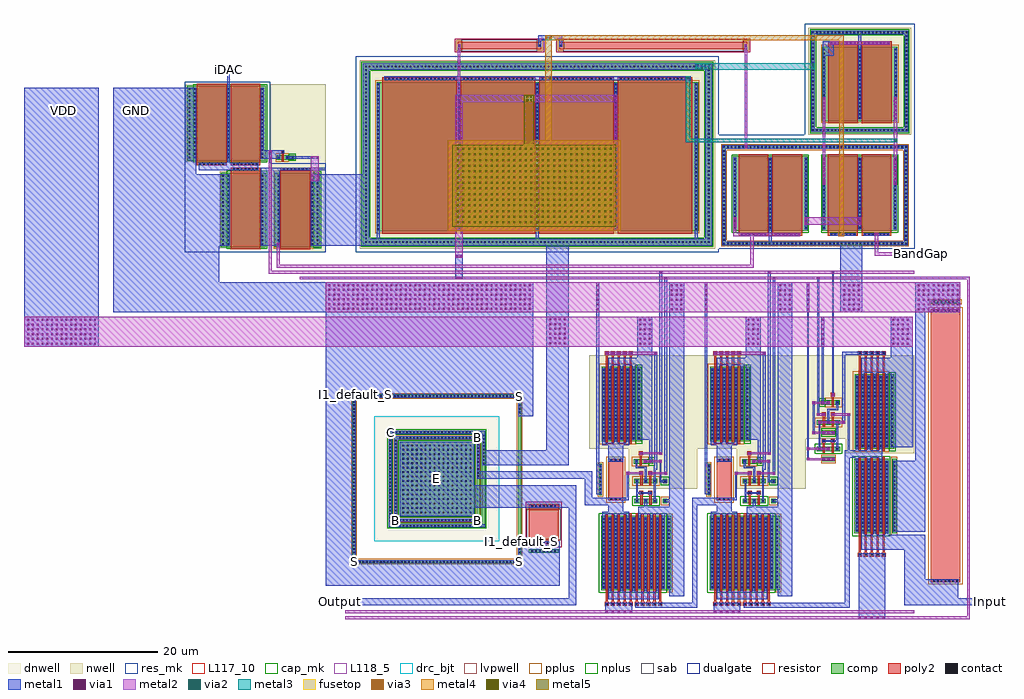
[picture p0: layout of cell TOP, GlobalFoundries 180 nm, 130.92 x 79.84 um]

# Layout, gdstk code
import gdstk
lib = gdstk.Library(unit=1e-6, precision=1e-09)
def R(c, l, rs):  # rectangles x0, y0, x1, y1
    for r in rs: c.add(gdstk.rectangle(r[:2], r[2:], *l))
def A(c, l, x, y, w, h, nx, ny, dx, dy):  # array of equal rectangles
    R(c, l, [(x+i*dx, y+j*dy, x+i*dx+w, y+j*dy+h) for i in range(nx) for j in range(ny)])
def P(c, l, *ps):  # polygons
    for p in ps: c.add(gdstk.Polygon(p, *l))
dnwell = (12, 0)
nwell = (21, 0)
comp = (22, 0)
poly2 = (30, 0)
pplus = (31, 0)
nplus = (32, 0)
contact = (33, 0)
metal1 = (34, 0)
via1 = (35, 0)
metal2 = (36, 0)
via2 = (38, 0)
via3 = (40, 0)
via4 = (41, 0)
metal3 = (42, 0)
metal4 = (46, 0)
sab = (49, 0)
dualgate = (55, 0)
resistor = (62, 0)
fusetop = (75, 0)
metal5 = (81, 0)
res_mk = (110, 5)
cap_mk = (117, 5)
L117_10 = (117, 10)
L118_5 = (118, 5)
drc_bjt = (127, 5)
lvpwell = (204, 0)

top = lib.new_cell('TOP')
R(top, dnwell, [(-34.14,-4.18,-17.34,12.62)])
R(top, nwell, [(-0.02,2.87,9.22,8.23), (14.52,2.87,23.76,8.23), (29.13,7.64,38.3,9.61), (-5.32,8.23,9.22,20.81), (9.22,8.23,23.76,20.81), (23.76,9.61,38.3,20.81), (-48.06,34.64,-40.62,57.16), (-36.11,35.12,11.59,60.4), (-54.89,35.13,-53.91,45.47), (-34.59,36.51,10.07,58.71), (-48.06,46.04,-44.01,49), (-59.41,46.75,-58.43,57.09), (24.11,50.35,37.89,64.75), (25.19,51.3,36.81,63.5)])
R(top, comp, [(-3.69,-10.73,5.71,-0.73), (10.85,-10.73,20.25,-0.73), (-13.41,-5.67,-9.41,-5.25), (30.27,-3.1,34.9,6.9), (35.32,-3.1,35.95,6.94), (-30.74,-0.78,-20.74,9.22), (0.75,0.97,3.85,1.57), (4.58,0.97,5.18,1.57), (15.29,0.97,18.39,1.57), (19.12,0.97,19.72,1.57), (-3.97,1.99,-3.61,6.26), (10.57,1.99,10.93,6.26), (0.75,3.62,3.85,4.22), (4.58,3.62,5.18,4.22), (15.29,3.62,18.39,4.22), (19.12,3.62,19.72,4.22), (0.67,6.27,3.27,6.87), (15.21,6.27,17.81,6.87), (25.94,6.57,27.64,7.17), (25.24,7.95,28.34,8.55), (30.34,8.26,35.64,18.26), (-3.62,9.26,1.68,19.26), (10.92,9.26,16.22,19.26), (25.94,10.12,27.64,10.72), (25.24,11.5,28.34,12.1), (25.73,14.15,28.33,14.75), (40.48,27.8,44.48,28.16), (-54.72,35.3,-48.69,45.3), (-47.47,35.3,-41.44,45.3), (-33.81,37.42,9.29,57.42), (14.01,37.49,23.99,47.49), (25.99,37.49,35.97,47.49), (-59.24,46.92,-48.69,56.92), (-47.2,47.03,-44.87,47.63), (25.97,52.21,36.03,62.21)])
P(top, comp, [(-37.06,-7.1),(-37.06,-6.68),(-14.84,-6.68),(-14.84,15.12),(-36.64,15.12),(-36.64,-6.68),(-37.06,-6.68),(-37.06,15.54),(-14.42,15.54),(-14.42,-7.1)],
  [(-31.48,-1.52),(-31.48,-1.1),(-20.42,-1.1),(-20.42,9.54),(-31.06,9.54),(-31.06,-1.1),(-31.48,-1.1),(-31.48,9.96),(-20,9.96),(-20,-1.52)],
  [(-32.22,-2.26),(-32.22,-1.84),(-19.68,-1.84),(-19.68,10.28),(-31.8,10.28),(-31.8,-1.84),(-32.22,-1.84),(-32.22,10.7),(-19.26,10.7),(-19.26,-2.26)],
  [(-35.71,35.52),(-35.71,59.1),(-34.81,59.1),(-34.81,36.42),(10.29,36.42),(10.29,59.1),(-35.71,59.1),(-35.71,60),(11.19,60),(11.19,35.52)],
  [(12.55,35.56),(12.55,48.49),(13.01,48.49),(13.01,36.02),(36.97,36.02),(36.97,48.49),(12.55,48.49),(12.55,48.95),(37.43,48.95),(37.43,35.56)],
  [(24.51,50.75),(24.51,63.89),(24.97,63.89),(24.97,51.21),(37.03,51.21),(37.03,63.89),(24.51,63.89),(24.51,64.35),(37.49,64.35),(37.49,50.75)])
A(top, poly2, -3.22, -12.83, 0.54, 0.54, 10, 1, 0.8, 0)
A(top, poly2, 11.32, -12.83, 0.54, 0.54, 10, 1, 0.8, 0)
A(top, poly2, -3.09, -12.29, 0.28, 11.87, 10, 1, 0.8, 0)
A(top, poly2, 11.45, -12.29, 0.28, 11.87, 10, 1, 0.8, 0)
A(top, poly2, 30.74, -6.2, 0.54, 0.54, 5, 2, 0.8, 27.02)
A(top, poly2, 30.87, -5.66, 0.28, 12.87, 5, 2, 0.8, 13.61)
A(top, poly2, -3.09, 8.95, 0.28, 11.87, 5, 1, 0.8, 0)
A(top, poly2, 11.45, 8.95, 0.28, 11.87, 5, 1, 0.8, 0)
A(top, poly2, -3.22, 20.82, 0.54, 0.54, 5, 1, 0.8, 0)
A(top, poly2, 11.32, 20.82, 0.54, 0.54, 5, 1, 0.8, 0)
A(top, poly2, -33.04, 37.12, 10, 20.98, 4, 1, 10.52, 0)
R(top, poly2, [(40.48,-9.64,44.48,26.94), (-13.41,-4.55,-9.41,0.73), (1.55,0.72,1.85,2.06), (2.76,0.72,3.06,2.06), (16.09,0.72,16.39,2.06), (17.3,0.72,17.6,2.06), (-2.75,1.32,-0.75,6.92), (11.79,1.32,13.79,6.92), (1.42,2.06,1.96,2.6), (2.63,2.06,3.17,2.6), (15.96,2.06,16.5,2.6), (17.17,2.06,17.71,2.6), (1.55,3.37,1.85,4.71), (2.74,3.37,3.04,4.71), (16.09,3.37,16.39,4.71), (17.28,3.37,17.58,4.71), (1.42,4.71,1.96,5.25), (2.61,4.71,3.15,5.25), (15.96,4.71,16.5,5.25), (17.15,4.71,17.69,5.25), (1.47,6.02,1.77,7.36), (16.01,6.02,16.31,7.36), (1.34,7.36,1.88,7.9), (15.88,7.36,16.42,7.9), (26.02,7.7,26.32,9.04), (27.23,7.7,27.53,9.04), (25.91,9.04,26.45,9.58), (27.12,9.04,27.66,9.58), (26.03,11.25,26.33,12.59), (27.23,11.25,27.53,12.59), (25.91,12.59,26.45,13.13), (27.11,12.59,27.65,13.13), (27.23,13.9,27.53,15.24), (27.12,15.24,27.66,15.78), (-53.42,35,-49.42,45.96), (-46.74,35,-42.74,45.96), (14.74,36.83,18.74,47.79), (19.26,36.83,23.26,47.79), (26.72,36.83,30.72,47.79), (31.24,36.83,35.24,47.79), (-57.94,46.26,-53.94,57.22), (-53.42,46.26,-49.42,57.22), (26.74,51.91,30.74,62.89), (31.26,51.91,35.26,62.89), (-22.96,61.86,-11.74,62.86), (-9.31,61.86,15.91,62.86)])
P(top, poly2, [(-46.55,46.73),(-46.55,47.93),(-46.59,47.93),(-46.59,48.31),(-46.21,48.31),(-46.21,47.93),(-46.25,47.93),(-46.25,46.73)])
R(top, pplus, [(5.12,-11,5.92,-0.46), (19.66,-11,20.46,-0.46), (40.18,-9.94,44.78,27.24), (-13.43,-5.69,-9.39,-5.23), (-13.59,-4.73,-9.23,-3.91), (35.24,-3.37,36.04,7.17), (-13.59,0.09,-9.23,0.91), (4.31,0.7,5.45,1.84), (18.85,0.7,19.99,1.84), (-3.05,1.02,-0.45,7.22), (11.49,1.02,14.09,7.22), (-4.13,1.83,-3.45,6.42), (10.41,1.83,11.09,6.42), (0.45,3.27,4.15,4.57), (14.99,3.27,18.69,4.57), (0.37,5.92,2.67,7.22), (14.91,5.92,17.21,7.22), (25.79,6.3,27.79,7.44), (30.02,7.88,34.92,18.63), (-3.94,8.88,0.96,19.63), (10.6,8.88,15.5,19.63), (24.94,11.15,28.64,12.45), (26.33,13.8,28.63,15.1), (40.32,27.64,44.64,28.32), (-47.64,35.06,-42.25,45.54), (-33.98,37.18,9.46,57.66), (-47.37,46.79,-45.6,47.87), (25.8,51.97,36.2,62.45), (-23.14,61.68,-22.35,63.04), (-12.35,61.68,-11.56,63.04), (-9.49,61.68,-8.7,63.04), (15.3,61.68,16.09,63.04)])
P(top, pplus, [(-37.22,-7.26),(-37.22,-6.52),(-15,-6.52),(-15,14.96),(-36.48,14.96),(-36.48,-6.52),(-37.22,-6.52),(-37.22,15.7),(-14.26,15.7),(-14.26,-7.26)],
  [(-31.64,-1.68),(-31.64,-0.94),(-20.58,-0.94),(-20.58,9.38),(-30.9,9.38),(-30.9,-0.94),(-31.64,-0.94),(-31.64,10.12),(-19.84,10.12),(-19.84,-1.68)],
  [(12.39,35.4),(12.39,48.33),(13.17,48.33),(13.17,36.18),(36.81,36.18),(36.81,48.33),(12.39,48.33),(12.39,49.11),(37.59,49.11),(37.59,35.4)])
R(top, nplus, [(-3.99,-11.08,5.12,-0.38), (10.55,-11.08,19.66,-0.38), (29.97,-3.45,35.08,7.25), (-30.9,-0.94,-20.58,9.38), (0.45,0.62,4.15,1.92), (14.99,0.62,18.69,1.92), (4.31,3.34,5.45,4.48), (18.85,3.34,19.99,4.48), (2.67,6,3.47,7.14), (17.21,6,18.01,7.14), (24.94,7.6,28.64,8.9), (34.92,7.945,35.8,18.555), (0.96,8.945,1.84,19.555), (15.5,8.945,16.38,19.555), (25.79,9.85,27.79,10.99), (25.53,13.88,26.33,15.02), (-53.91,35.06,-48.52,45.54), (-42.25,35.13,-41.27,45.47), (13.84,37.25,24.16,47.73), (25.82,37.25,36.14,47.73), (-58.43,46.68,-48.52,57.16), (-45.6,46.86,-44.7,47.8)])
P(top, nplus, [(-32.38,-2.42),(-32.38,-1.68),(-19.84,-1.68),(-19.84,10.12),(-31.64,10.12),(-31.64,-1.68),(-32.38,-1.68),(-32.38,10.86),(-19.1,10.86),(-19.1,-2.42)],
  [(-35.87,35.36),(-35.87,58.94),(-34.65,58.94),(-34.65,36.58),(10.13,36.58),(10.13,58.94),(-35.87,58.94),(-35.87,60.16),(11.35,60.16),(11.35,35.36)],
  [(24.35,50.59),(24.35,63.73),(25.13,63.73),(25.13,51.37),(36.87,51.37),(36.87,63.73),(24.35,63.73),(24.35,64.51),(37.65,64.51),(37.65,50.59)])
A(top, contact, -3.06, -12.67, 0.22, 0.22, 10, 1, 0.8, 0)
A(top, contact, 11.48, -12.67, 0.22, 0.22, 10, 1, 0.8, 0)
A(top, contact, -3.46, -10.43, 0.22, 0.22, 11, 19, 0.8, 0.51)
A(top, contact, 5.26, -10.43, 0.22, 0.22, 1, 19, 0, 0.51)
A(top, contact, 11.08, -10.43, 0.22, 0.22, 11, 19, 0.8, 0.51)
A(top, contact, 19.8, -10.43, 0.22, 0.22, 1, 19, 0, 0.51)
A(top, contact, 40.84, -9.57, 0.22, 0.22, 7, 2, 0.51, 36.22)
A(top, contact, -36.19, -7, 0.22, 0.22, 45, 2, 0.47, 22.22)
A(top, contact, -36.96, -6.23, 0.22, 0.22, 1, 45, 0, 0.47)
A(top, contact, -14.74, -6.23, 0.22, 0.22, 1, 4, 0, 0.47)
A(top, contact, 30.9, -6.04, 0.22, 0.22, 5, 2, 0.8, 27.02)
A(top, contact, -13.05, -5.57, 0.22, 0.22, 7, 2, 0.51, 1.09)
A(top, contact, 30.5, -2.8, 0.22, 0.22, 6, 19, 0.8, 0.51)
A(top, contact, 35.56, -2.8, 0.22, 0.22, 1, 19, 0, 0.51)
A(top, contact, -31.725, -2.16, 0.22, 0.22, 26, 2, 0.47, 12.54)
A(top, contact, -32.12, -1.53, 0.22, 0.22, 1, 25, 0, 0.47)
A(top, contact, -30.785, -1.42, 0.22, 0.22, 22, 2, 0.47, 11.06)
A(top, contact, -31.38, -1.06, 0.22, 0.22, 1, 23, 0, 0.47)
A(top, contact, -30.35, -0.39, 0.22, 0.22, 16, 16, 0.6, 0.6)
A(top, contact, -13.05, 0.44, 0.22, 0.22, 7, 1, 0.51, 0)
A(top, contact, -3.9, 2.23, 0.22, 0.22, 1, 8, 0, 0.51)
A(top, contact, 10.64, 2.23, 0.22, 0.22, 1, 8, 0, 0.51)
A(top, contact, -20.32, 4.47, 0.22, 0.22, 1, 11, 0, 0.47)
A(top, contact, -19.58, 6.15, 0.22, 0.22, 1, 9, 0, 0.47)
A(top, contact, 26.06, 6.76, 0.22, 0.22, 3, 2, 0.62, 3.55)
A(top, contact, 30.5, 8.56, 0.22, 0.22, 6, 19, 0.8, 0.51)
A(top, contact, 35.2, 8.56, 0.22, 0.22, 1, 19, 0, 0.51)
A(top, contact, -3.46, 9.56, 0.22, 0.22, 6, 19, 0.8, 0.51)
A(top, contact, 1.24, 9.56, 0.22, 0.22, 1, 19, 0, 0.51)
A(top, contact, 11.08, 9.56, 0.22, 0.22, 6, 19, 0.8, 0.51)
A(top, contact, 15.78, 9.56, 0.22, 0.22, 1, 19, 0, 0.51)
A(top, contact, -14.74, 13.04, 0.22, 0.22, 1, 4, 0, 0.47)
A(top, contact, -3.06, 20.98, 0.22, 0.22, 5, 1, 0.8, 0)
A(top, contact, 11.48, 20.98, 0.22, 0.22, 5, 1, 0.8, 0)
A(top, contact, 40.84, 27.87, 0.22, 0.22, 7, 1, 0.51, 0)
A(top, contact, -54.52, 35.6, 0.22, 0.22, 1, 19, 0, 0.51)
A(top, contact, -53.79, 35.6, 0.22, 0.22, 1, 19, 0, 0.51)
A(top, contact, -49.27, 35.6, 0.22, 0.22, 1, 19, 0, 0.51)
A(top, contact, -47.11, 35.6, 0.22, 0.22, 1, 19, 0, 0.51)
A(top, contact, -42.59, 35.6, 0.22, 0.22, 1, 19, 0, 0.51)
A(top, contact, -41.86, 35.6, 0.22, 0.22, 1, 19, 0, 0.51)
A(top, contact, 12.67, 35.68, 0.22, 0.22, 3, 2, 0.51, 12.93)
A(top, contact, 14.195, 35.68, 0.22, 0.22, 3, 2, 0.51, 12.93)
A(top, contact, 15.72, 35.68, 0.22, 0.22, 5, 2, 0.51, 12.93)
A(top, contact, 18.265, 35.68, 0.22, 0.22, 3, 2, 0.51, 12.93)
A(top, contact, 19.79, 35.68, 0.22, 0.22, 5, 2, 0.51, 12.93)
A(top, contact, 22.335, 35.68, 0.22, 0.22, 3, 2, 0.51, 12.93)
A(top, contact, 23.86, 35.68, 0.22, 0.22, 5, 2, 0.51, 12.93)
A(top, contact, 26.405, 35.68, 0.22, 0.22, 3, 2, 0.51, 12.93)
A(top, contact, 27.93, 35.68, 0.22, 0.22, 5, 2, 0.51, 12.93)
A(top, contact, 30.475, 35.68, 0.22, 0.22, 3, 2, 0.51, 12.93)
A(top, contact, 32, 35.68, 0.22, 0.22, 5, 2, 0.51, 12.93)
A(top, contact, 34.545, 35.68, 0.22, 0.22, 4, 2, 0.51, 12.93)
A(top, contact, -35.37, 35.86, 0.22, 0.22, 93, 2, 0.5, 23.58)
A(top, contact, -35.37, 36.865, 0.22, 0.22, 1, 3, 0, 0.5)
A(top, contact, 10.63, 36.865, 0.22, 0.22, 1, 3, 0, 0.5)
A(top, contact, 15.1, 36.9, 0.22, 0.22, 7, 1, 0.51, 0)
A(top, contact, 19.62, 36.9, 0.22, 0.22, 7, 1, 0.51, 0)
A(top, contact, 27.08, 36.9, 0.22, 0.22, 7, 1, 0.51, 0)
A(top, contact, 31.6, 36.9, 0.22, 0.22, 7, 1, 0.51, 0)
A(top, contact, -33.69, 37.62, 0.22, 0.22, 1, 39, 0, 0.51)
A(top, contact, -22.89, 37.62, 0.22, 0.22, 3, 39, 10.52, 0.51)
A(top, contact, 8.95, 37.62, 0.22, 0.22, 1, 39, 0, 0.51)
A(top, contact, 14.11, 37.79, 0.22, 0.22, 3, 19, 4.78, 0.51)
A(top, contact, 26.09, 37.79, 0.22, 0.22, 3, 19, 4.78, 0.51)
A(top, contact, -35.37, 38.37, 0.22, 0.22, 1, 3, 0, 0.5)
A(top, contact, 10.63, 38.37, 0.22, 0.22, 1, 3, 0, 0.5)
A(top, contact, 12.67, 39.82, 0.22, 0.22, 1, 3, 0, 0.515)
A(top, contact, 37.09, 39.82, 0.22, 0.22, 1, 3, 0, 0.515)
A(top, contact, -35.37, 39.875, 0.22, 0.22, 1, 3, 0, 0.5)
A(top, contact, 10.63, 39.875, 0.22, 0.22, 1, 3, 0, 0.5)
A(top, contact, -35.37, 41.38, 0.22, 0.22, 1, 3, 0, 0.5)
A(top, contact, 10.63, 41.38, 0.22, 0.22, 1, 3, 0, 0.5)
A(top, contact, -35.37, 42.885, 0.22, 0.22, 1, 3, 0, 0.5)
A(top, contact, 10.63, 42.885, 0.22, 0.22, 1, 3, 0, 0.5)
A(top, contact, 12.67, 43.44, 0.22, 0.22, 1, 3, 0, 0.515)
A(top, contact, 37.09, 43.44, 0.22, 0.22, 1, 3, 0, 0.515)
A(top, contact, -35.37, 44.39, 0.22, 0.22, 1, 3, 0, 0.5)
A(top, contact, 10.63, 44.39, 0.22, 0.22, 1, 3, 0, 0.5)
A(top, contact, -53.06, 45.67, 0.22, 0.22, 5, 2, 0.51, 0.66)
A(top, contact, -46.38, 45.67, 0.22, 0.22, 7, 1, 0.51, 0)
A(top, contact, -35.37, 45.895, 0.22, 0.22, 1, 3, 0, 0.5)
A(top, contact, 10.63, 45.895, 0.22, 0.22, 1, 3, 0, 0.5)
A(top, contact, -57.58, 46.33, 0.22, 0.22, 5, 1, 0.51, 0)
A(top, contact, -59.04, 47.22, 0.22, 0.22, 1, 19, 0, 0.51)
A(top, contact, -58.31, 47.22, 0.22, 0.22, 3, 19, 4.52, 0.51)
A(top, contact, -35.37, 48.405, 0.22, 0.22, 1, 3, 0, 0.5)
A(top, contact, 10.63, 48.405, 0.22, 0.22, 1, 3, 0, 0.5)
A(top, contact, -35.37, 49.91, 0.22, 0.22, 1, 3, 0, 0.5)
A(top, contact, 10.63, 49.91, 0.22, 0.22, 1, 3, 0, 0.5)
A(top, contact, 24.63, 50.87, 0.22, 0.22, 4, 2, 0.5, 13.14)
A(top, contact, 26.635, 50.87, 0.22, 0.22, 6, 2, 0.5, 13.14)
A(top, contact, 29.64, 50.87, 0.22, 0.22, 6, 2, 0.5, 13.14)
A(top, contact, 32.645, 50.87, 0.22, 0.22, 6, 2, 0.5, 13.14)
A(top, contact, 35.65, 50.87, 0.22, 0.22, 4, 2, 0.5, 13.14)
A(top, contact, 24.63, 51.375, 0.22, 0.22, 1, 6, 0, 0.505)
A(top, contact, 37.15, 51.375, 0.22, 0.22, 1, 6, 0, 0.505)
A(top, contact, -35.37, 51.415, 0.22, 0.22, 1, 3, 0, 0.5)
A(top, contact, 10.63, 51.415, 0.22, 0.22, 1, 3, 0, 0.5)
A(top, contact, 26.09, 52.51, 0.22, 0.22, 3, 19, 4.8, 0.51)
A(top, contact, -35.37, 52.92, 0.22, 0.22, 1, 3, 0, 0.5)
A(top, contact, 10.63, 52.92, 0.22, 0.22, 1, 3, 0, 0.5)
A(top, contact, 24.63, 54.41, 0.22, 0.22, 1, 13, 0, 0.505)
A(top, contact, 37.15, 54.41, 0.22, 0.22, 1, 13, 0, 0.505)
A(top, contact, -35.37, 54.425, 0.22, 0.22, 1, 3, 0, 0.5)
A(top, contact, 10.63, 54.425, 0.22, 0.22, 1, 3, 0, 0.5)
A(top, contact, -35.37, 55.93, 0.22, 0.22, 1, 3, 0, 0.5)
A(top, contact, 10.63, 55.93, 0.22, 0.22, 1, 3, 0, 0.5)
A(top, contact, -35.37, 57.435, 0.22, 0.22, 1, 3, 0, 0.5)
A(top, contact, 10.63, 57.435, 0.22, 0.22, 1, 3, 0, 0.5)
A(top, contact, -32.74, 57.8, 0.22, 0.22, 19, 1, 0.51, 0)
A(top, contact, -22.22, 57.8, 0.22, 0.22, 19, 1, 0.51, 0)
A(top, contact, -11.7, 57.8, 0.22, 0.22, 19, 1, 0.51, 0)
A(top, contact, -1.18, 57.8, 0.22, 0.22, 19, 1, 0.51, 0)
A(top, contact, 24.63, 60.98, 0.22, 0.22, 1, 6, 0, 0.505)
A(top, contact, 37.15, 60.98, 0.22, 0.22, 1, 6, 0, 0.505)
A(top, contact, 27.1, 62.59, 0.22, 0.22, 7, 1, 0.51, 0)
A(top, contact, 31.62, 62.59, 0.22, 0.22, 7, 1, 0.51, 0)
R(top, contact, [(1,1.16,1.22,1.38), (2.19,1.16,2.41,1.38), (3.37,1.16,3.59,1.38), (4.77,1.16,4.99,1.38), (15.54,1.16,15.76,1.38), (16.73,1.16,16.95,1.38), (17.91,1.16,18.13,1.38), (19.31,1.16,19.53,1.38), (-2.46,1.4,-2.24,1.62), (-1.86,1.4,-1.64,1.62), (-1.86,1.4,-1.64,1.62), (-1.26,1.4,-1.04,1.62), (12.08,1.4,12.3,1.62), (12.68,1.4,12.9,1.62), (12.68,1.4,12.9,1.62), (13.28,1.4,13.5,1.62), (1.58,2.22,1.8,2.44), (2.79,2.22,3.01,2.44), (16.12,2.22,16.34,2.44), (17.33,2.22,17.55,2.44), (1,3.81,1.22,4.03), (2.19,3.81,2.41,4.03), (3.37,3.81,3.59,4.03), (4.77,3.81,4.99,4.03), (15.54,3.81,15.76,4.03), (16.73,3.81,16.95,4.03), (17.91,3.81,18.13,4.03), (19.31,3.81,19.53,4.03), (1.58,4.87,1.8,5.09), (2.77,4.87,2.99,5.09), (16.12,4.87,16.34,5.09), (17.31,4.87,17.53,5.09), (0.92,6.46,1.14,6.68), (2.11,6.46,2.33,6.68), (2.86,6.46,3.08,6.68), (15.46,6.46,15.68,6.68), (16.65,6.46,16.87,6.68), (17.4,6.46,17.62,6.68), (-2.46,6.62,-2.24,6.84), (-1.86,6.62,-1.64,6.84), (-1.86,6.62,-1.64,6.84), (-1.26,6.62,-1.04,6.84), (12.08,6.62,12.3,6.84), (12.68,6.62,12.9,6.84), (12.68,6.62,12.9,6.84), (13.28,6.62,13.5,6.84), (1.5,7.52,1.72,7.74), (16.04,7.52,16.26,7.74), (25.49,8.14,25.71,8.36), (26.67,8.14,26.89,8.36), (27.86,8.14,28.08,8.36), (26.07,9.2,26.29,9.42), (27.28,9.2,27.5,9.42), (25.49,11.69,25.71,11.91), (26.67,11.69,26.89,11.91), (27.86,11.69,28.08,11.91), (26.07,12.75,26.29,12.97), (27.27,12.75,27.49,12.97), (25.92,14.34,26.14,14.56), (26.67,14.34,26.89,14.56), (27.86,14.34,28.08,14.56), (27.28,15.4,27.5,15.62), (36.58,35.68,36.8,35.9), (37.09,35.68,37.31,35.9), (12.67,36.195,12.89,36.415), (37.09,36.195,37.31,36.415), (-35.37,36.36,-35.15,36.58), (10.63,36.36,10.85,36.58), (12.67,36.715,12.89,36.935), (37.09,36.715,37.31,36.935), (12.67,37.23,12.89,37.45), (37.09,37.23,37.31,37.45), (12.67,37.75,12.89,37.97), (37.09,37.75,37.31,37.97), (12.67,38.265,12.89,38.485), (37.09,38.265,37.31,38.485), (12.67,38.785,12.89,39.005), (37.09,38.785,37.31,39.005), (12.67,39.3,12.89,39.52), (37.09,39.3,37.31,39.52), (12.67,41.37,12.89,41.59), (37.09,41.37,37.31,41.59), (12.67,41.885,12.89,42.105), (37.09,41.885,37.31,42.105), (12.67,42.405,12.89,42.625), (37.09,42.405,37.31,42.625), (12.67,42.92,12.89,43.14), (37.09,42.92,37.31,43.14), (12.67,44.99,12.89,45.21), (37.09,44.99,37.31,45.21), (12.67,45.505,12.89,45.725), (37.09,45.505,37.31,45.725), (-51.02,45.67,-50.8,45.89), (-50.51,45.67,-50.29,45.89), (-50.51,45.67,-50.29,45.89), (-50,45.67,-49.78,45.89), (-50,45.67,-49.78,45.89), (12.67,46.025,12.89,46.245), (37.09,46.025,37.31,46.245), (-55.54,46.33,-55.32,46.55), (-55.03,46.33,-54.81,46.55), (-55.03,46.33,-54.81,46.55), (-54.52,46.33,-54.3,46.55), (-54.52,46.33,-54.3,46.55), (-51.02,46.33,-50.8,46.55), (-50.51,46.33,-50.29,46.55), (-50.51,46.33,-50.29,46.55), (-50,46.33,-49.78,46.55), (-50,46.33,-49.78,46.55), (12.67,46.54,12.89,46.76), (37.09,46.54,37.31,46.76), (12.67,47.06,12.89,47.28), (37.09,47.06,37.31,47.28), (-47.08,47.22,-46.86,47.44), (-45.94,47.22,-45.72,47.44), (-45.21,47.22,-44.99,47.44), (-35.37,47.4,-35.15,47.62), (10.63,47.4,10.85,47.62), (12.67,47.575,12.89,47.795), (37.09,47.575,37.31,47.795), (-35.37,47.9,-35.15,48.12), (10.63,47.9,10.85,48.12), (-46.51,48.01,-46.29,48.23), (12.67,48.095,12.89,48.315), (37.09,48.095,37.31,48.315), (36.58,48.61,36.8,48.83), (37.09,48.61,37.31,48.83), (-35.37,58.94,-35.15,59.16), (10.63,58.94,10.85,59.16), (-22.89,62.25,-22.67,62.47), (-12.03,62.25,-11.81,62.47), (-9.24,62.25,-9.02,62.47), (15.62,62.25,15.84,62.47)])
A(top, metal1, -3.14, -12.75, 0.38, 0.38, 10, 1, 0.8, 0)
A(top, metal1, 11.4, -12.75, 0.38, 0.38, 10, 1, 0.8, 0)
A(top, metal1, -2.74, -10.91, 0.38, 0.4, 5, 1, 1.6, 0)
A(top, metal1, 11.8, -10.91, 0.38, 0.4, 5, 1, 1.6, 0)
A(top, metal1, -3.54, -10.51, 0.38, 9.56, 11, 1, 0.8, 0)
A(top, metal1, 11, -10.51, 0.38, 9.56, 11, 1, 0.8, 0)
A(top, metal1, 30.82, -6.12, 0.38, 0.38, 5, 2, 0.8, 27.02)
A(top, metal1, 31.22, -3.28, 0.38, 0.4, 3, 2, 1.6, 21.32)
A(top, metal1, 30.42, -2.88, 0.38, 9.56, 6, 2, 0.8, 11.36)
A(top, metal1, -3.54, -0.95, 0.38, 0.4, 6, 1, 1.6, 0)
A(top, metal1, 11, -0.95, 0.38, 0.4, 6, 1, 1.6, 0)
A(top, metal1, 25.98, 6.68, 0.38, 0.38, 3, 2, 0.62, 3.55)
A(top, metal1, 30.42, 6.68, 0.38, 0.4, 3, 2, 1.6, 1.4)
A(top, metal1, -3.54, 9.08, 0.38, 0.4, 3, 1, 1.6, 0)
A(top, metal1, 11, 9.08, 0.38, 0.4, 3, 1, 1.6, 0)
A(top, metal1, -3.54, 9.48, 0.38, 9.56, 6, 1, 0.8, 0)
A(top, metal1, 11, 9.48, 0.38, 9.56, 6, 1, 0.8, 0)
A(top, metal1, -2.74, 19.04, 0.38, 0.4, 3, 1, 1.6, 0)
A(top, metal1, 11.8, 19.04, 0.38, 0.4, 3, 1, 1.6, 0)
A(top, metal1, -3.14, 20.9, 0.38, 0.38, 5, 1, 0.8, 0)
A(top, metal1, 11.4, 20.9, 0.38, 0.38, 5, 1, 0.8, 0)
A(top, metal1, -33.77, 35.52, 0.38, 3.02, 3, 1, 21.32, 0)
A(top, metal1, -22.97, 37.54, 0.38, 19.76, 3, 1, 10.52, 0)
A(top, metal1, 14.03, 37.71, 0.38, 9.56, 3, 1, 4.78, 0)
A(top, metal1, 26.01, 37.71, 0.38, 9.56, 3, 1, 4.78, 0)
A(top, metal1, -58.39, 47.14, 0.38, 9.56, 3, 1, 4.52, 0)
A(top, metal1, 26.01, 52.43, 0.38, 9.56, 3, 1, 4.8, 0)
A(top, metal1, -32.82, 57.72, 9.56, 0.38, 4, 1, 10.52, 0)
R(top, metal1, [(30.82,-14.59,34.4,-5.74), (-3.14,-13.81,0.44,-12.37), (11.4,-13.81,14.98,-12.37), (0.86,-13.05,9.22,-12.37), (8.54,-13.05,9.22,1.7), (15.4,-13.05,23.76,-12.37), (23.76,-13.05,29.63,-12.37), (28.95,-13.05,29.63,8.08), (-40.87,-12.76,-7.06,-11.76), (-8.06,-12.76,-7.06,3.36), (36.97,-12.76,39.8,-3.28), (36.97,-12.76,44.2,-9.27), (44.2,-12.76,49.8,-11.76), (-3.14,-12.75,0.44,-12.37), (0.86,-12.75,4.44,-12.37), (11.4,-12.75,14.98,-12.37), (15.4,-12.75,18.98,-12.37), (-2.74,-11.91,4.04,-10.91), (11.8,-11.91,18.58,-10.91), (5.42,-11.53,7.42,30.57), (19.96,-11.53,21.96,30.57), (5.18,-10.51,5.56,-0.95), (19.72,-10.51,20.1,-0.95), (-40.64,-10.1,-9.23,-7.1), (40.76,-9.65,44.2,-9.27), (-40.64,-7.1,-36.64,30.57), (-37.06,-7.1,-14.42,-6.68), (-37.06,-7.1,-36.64,15.54), (-14.84,-7.1,-14.42,-4.18), (-14.84,-7.1,-9.23,-4.18), (30.82,-6.12,34.4,-5.74), (-13.13,-5.65,-9.69,-5.27), (31.22,-5.28,39.8,-3.28), (-13.13,-4.56,-9.69,-4.18), (35.48,-2.88,35.86,6.68), (35.48,-2.88,39.8,6.68), (38.4,-2.88,39.8,30.57), (-32.22,-2.26,-19.26,-1.84), (-32.22,-2.26,-31.8,10.7), (-31.48,-1.52,-20,-1.1), (-31.48,-1.52,-31.06,9.96), (5.18,-0.95,5.56,-0.55), (19.72,-0.95,20.1,-0.55), (-30.74,-0.78,-20.74,9.22), (-30.74,-0.78,-20.74,9.22), (-3.54,-0.55,0.04,-0.17), (-2.75,-0.55,-0.75,1.7), (1.26,-0.55,7.42,0.45), (11,-0.55,14.58,-0.17), (11.79,-0.55,13.79,1.7), (15.8,-0.55,21.96,0.45), (2.11,0.01,2.49,1.46), (16.65,0.01,17.03,1.46), (-22,0.36,-7.06,3.36), (-13.13,0.36,-9.69,0.74), (-5.9,0.7,-4.9,5.21), (-5.32,0.7,-0.75,1.7), (9.22,0.7,13.79,1.7), (0.92,1.08,1.3,1.46), (2.11,1.08,2.49,1.46), (3.29,1.08,3.67,1.46), (4.69,1.08,5.07,1.46), (4.69,1.08,7.42,1.46), (15.46,1.08,15.84,1.46), (16.65,1.08,17.03,1.46), (17.83,1.08,18.21,1.46), (19.23,1.08,19.61,1.46), (19.23,1.08,21.96,1.46), (0.99,1.15,1.23,4.04), (3.36,1.15,3.6,4.04), (15.53,1.15,15.77,4.04), (17.9,1.15,18.14,4.04), (-2.75,1.32,-0.02,1.7), (-0.26,1.32,-0.02,5.1), (11.79,1.32,14.52,1.7), (14.28,1.32,14.52,5.1), (3.36,1.46,3.6,3.73), (17.9,1.46,18.14,3.73), (1.5,2.14,1.88,2.52), (2.71,2.14,3.09,2.52), (16.04,2.14,16.42,2.52), (17.25,2.14,17.63,2.52), (-4.36,2.15,-3.98,30.57), (-3.98,2.15,-3.6,6.1), (10.18,2.15,10.56,30.57), (10.56,2.15,10.94,6.1), (0.99,2.21,3.02,2.45), (15.53,2.21,17.56,2.45), (0.92,3.73,1.3,4.11), (2.11,3.73,2.49,4.11), (3.29,3.73,3.67,4.11), (4.69,3.73,5.07,4.11), (15.46,3.73,15.84,4.11), (16.65,3.73,17.03,4.11), (17.83,3.73,18.21,4.11), (19.23,3.73,19.61,4.11), (2.18,3.79,2.42,5.87), (3.36,3.79,3.6,5.87), (16.72,3.79,16.96,5.87), (17.9,3.79,18.14,5.87), (4.13,3.8,4.37,6.69), (4.13,3.8,5,4.04), (18.67,3.8,18.91,6.69), (18.67,3.8,19.54,4.04), (-20.42,4.21,-7.06,5.21), (-8.06,4.21,-4.9,5.21), (-20.42,4.22,-20,9.96), (-0.33,4.78,0.05,5.16), (14.21,4.78,14.59,5.16), (1.5,4.79,1.88,5.17), (2.69,4.79,3.07,5.17), (4.76,4.79,5.14,31.35), (16.04,4.79,16.42,5.17), (17.23,4.79,17.61,5.17), (19.3,4.79,19.68,31.35), (3.44,5.42,3.82,21.28), (17.98,5.42,18.36,21.28), (0.91,5.63,1.15,6.69), (0.91,5.63,2.42,5.87), (15.45,5.63,15.69,6.69), (15.45,5.63,16.96,5.87), (-19.68,6.07,-8.06,8.07), (-19.67,6.07,-19.26,10.7), (-11.06,6.07,-8.06,25.97), (0.84,6.38,1.22,6.76), (2.03,6.38,2.41,6.76), (2.78,6.38,3.16,6.76), (2.78,6.38,3.16,9.62), (4.06,6.38,4.44,6.76), (15.38,6.38,15.76,6.76), (16.57,6.38,16.95,6.76), (17.32,6.38,17.7,6.76), (17.32,6.38,17.7,9.62), (18.6,6.38,18.98,6.76), (-2.75,6.54,-0.75,9.08), (11.79,6.54,13.79,9.08), (23.86,6.69,24.24,7.07), (23.93,6.74,24.17,30.57), (28.95,7.08,31.31,8.08), (29.39,7.08,29.63,12.98), (29.39,7.08,34,8.08), (30.42,7.08,34,8.08), (1.42,7.44,1.8,7.82), (4.1,7.44,4.48,32.13), (15.96,7.44,16.34,7.82), (18.64,7.44,19.02,32.13), (23.86,8.06,24.24,8.44), (25.41,8.06,25.79,8.44), (26.59,8.06,26.97,8.44), (27.78,8.06,28.16,8.44), (25.48,8.13,25.72,11.92), (27.85,8.13,28.09,11.92), (35.12,8.48,38.12,25.97), (35.12,8.48,35.5,18.04), (-3.54,8.7,0.04,9.08), (11,8.7,14.58,9.08), (25.99,9.12,26.37,9.5), (27.2,9.12,27.58,9.5), (26.06,9.19,28.09,9.43), (1.16,9.48,3.16,25.97), (1.16,9.48,1.54,19.04), (15.7,9.48,17.7,25.97), (15.7,9.48,16.08,19.04), (-31.48,9.54,-20,9.96), (24.64,10.23,25.02,10.61), (-32.22,10.28,-19.26,10.7), (24.71,10.28,24.95,14.57), (25.41,11.61,25.79,11.99), (26.59,11.61,26.97,11.99), (27.78,11.61,28.16,11.99), (28.67,11.61,29.05,21.28), (26.66,11.68,26.9,13.65), (-14.84,12.62,-12.84,30.57), (-14.84,12.62,-14.42,15.54), (25.22,12.67,25.6,13.05), (25.29,12.67,25.53,31.35), (25.99,12.67,26.37,13.05), (27.19,12.67,27.57,13.05), (29.32,12.67,29.7,13.05), (26.66,13.41,28.09,13.65), (27.85,13.41,28.09,14.57), (24.64,14.26,25.02,14.64), (25.84,14.26,26.22,14.64), (25.91,14.26,26.15,25.97), (26.59,14.26,26.97,14.64), (27.78,14.26,28.16,14.64), (-37.06,15.12,-14.42,15.54), (-37.06,15.13,-14.42,30.57), (27.2,15.32,27.58,15.7), (27.27,15.32,27.51,32.13), (31.22,18.44,37.12,20.44), (23.93,18.86,24.17,30.57), (-2.74,19.44,3.16,20.44), (11.8,19.44,17.7,20.44), (-3.14,20.9,0.44,21.28), (11.4,20.9,14.98,21.28), (28.67,20.9,34.4,21.28), (30.82,20.9,34.4,21.28), (-81.12,21.97,-71.12,56.7), (-11.06,21.97,-8.06,36.42), (25.84,21.97,26.22,25.97), (-69.12,26.57,-59.12,56.7), (-59.12,26.57,-40.64,30.57), (23.86,26.57,24.24,30.57), (28.35,26.57,31.35,36.02), (38.4,26.57,44.48,30.57), (40.76,26.57,44.2,26.95), (40.76,27.79,44.2,28.17), (-59.12,30.57,-54.91,35.52), (-23.28,30.97,-22.28,34.28), (25.22,30.97,25.6,31.35), (27.2,31.75,27.58,32.13), (-59.12,35.52,-53.49,45.08), (-54.6,35.52,-54.22,45.08), (-54.22,35.52,-53.87,45.08), (-53.87,35.52,-53.49,45.08), (-49.35,35.52,-48.97,45.08), (-48.97,35.52,-47.19,45.08), (-47.19,35.52,-46.81,45.08), (-42.67,35.52,-42.29,45.08), (-42.67,35.52,-35.71,45.08), (-42.29,35.52,-41.94,45.08), (-41.94,35.52,-41.56,45.08), (18.81,35.56,19.19,38.71), (15.02,36.82,18.46,37.2), (19.54,36.82,22.98,37.2), (27,36.82,30.44,37.2), (31.52,36.82,34.96,37.2), (-33.77,37.54,-33.39,57.3), (8.87,37.54,9.25,57.3), (-59.12,43.98,-58.01,47.14), (-49.35,45.08,-46.81,45.97), (-47.19,45.08,-46.81,45.97), (-57.66,45.59,-53.14,46.25), (-53.14,45.59,-49.7,45.97), (-47.19,45.59,-46.46,45.97), (-46.46,45.59,-43.02,45.97), (-43.02,45.59,-40.62,45.97), (-53.14,45.97,-49.7,46.25), (-57.66,46.25,-54.22,46.63), (-54.22,46.25,-53.14,46.63), (-53.87,46.25,-53.5,47.14), (-53.14,46.25,-49.7,46.63), (-59.12,47.14,-58.74,56.7), (-58.74,47.14,-58.39,56.7), (-49.35,47.14,-46.78,48.31), (-47.16,47.14,-46.78,47.52), (-46.02,47.14,-45.64,47.52), (-46.02,47.14,-41.56,47.52), (-45.64,47.14,-45.29,47.52), (-45.29,47.14,-44.91,47.52), (-46.78,47.93,-46.21,48.31), (-46.59,47.93,-46.21,48.31), (-53.87,56.7,-53.49,59.7), (-32.82,57.72,8.3,58.26), (26.01,60.99,27.52,62.89), (30.81,60.99,31.19,64.35), (-22.97,62.17,-22.59,62.55), (-22.97,62.17,-22.59,62.55), (-12.11,62.17,-11.73,62.55), (-12.11,62.17,-11.73,63.76), (-9.32,62.17,-8.94,62.55), (-9.32,62.17,-8.94,63.76), (15.54,62.17,15.92,62.55), (27.02,62.51,30.46,62.89), (31.54,62.51,34.98,62.89), (-12.11,63.06,-8.94,63.76)])
P(top, metal1, [(-37.06,-6.68),(-37.06,15.54),(-14.42,15.54),(-14.42,12.62),(-14.84,12.62),(-14.84,15.12),(-36.64,15.12),(-36.64,-6.68)],
  [(-37.06,-7.1),(-37.06,-6.68),(-14.84,-6.68),(-14.84,-4.18),(-14.42,-4.18),(-14.42,-7.1)],
  [(-31.48,-1.52),(-31.48,9.96),(-20,9.96),(-20,9.54),(-31.06,9.54),(-31.06,-1.1),(-20,-1.1),(-20,-1.52)],
  [(-32.22,-2.26),(-32.22,10.7),(-19.26,10.7),(-19.26,10.28),(-31.8,10.28),(-31.8,-1.84),(-19.26,-1.84),(-19.26,-2.26)],
  [(-35.71,35.52),(-35.71,59.1),(-34.81,59.1),(-34.81,36.42),(10.29,36.42),(10.29,59.1),(-35.71,59.1),(-35.71,60),(11.19,60),(11.19,35.52)],
  [(12.55,35.56),(12.55,48.49),(13.01,48.49),(13.01,36.02),(36.97,36.02),(36.97,48.49),(12.55,48.49),(12.55,48.95),(37.43,48.95),(37.43,35.56)],
  [(24.51,50.75),(24.51,63.89),(24.97,63.89),(24.97,51.21),(37.03,51.21),(37.03,63.89),(24.51,63.89),(24.51,64.35),(37.49,64.35),(37.49,50.75)],
  [(26.66,11.67),(26.66,11.67),(26.66,11.67),(26.66,11.67)],
  [(16.96,3.79),(16.96,3.79),(16.96,3.79),(16.96,3.79)],
  [(2.42,3.79),(2.42,3.79),(2.42,3.79),(2.42,3.79)])
A(top, via1, 30.88, -14.53, 0.26, 0.26, 5, 1, 0.8, 0)
A(top, via1, -3.08, -13.75, 0.26, 0.26, 5, 2, 0.8, 34.71)
A(top, via1, 11.46, -13.75, 0.26, 0.26, 5, 2, 0.8, 34.71)
A(top, via1, 26.04, 6.74, 0.26, 0.26, 3, 2, 0.62, 3.55)
A(top, via1, -80.69, 22.23, 0.26, 0.26, 15, 6, 0.64, 0.64)
A(top, via1, 1.39, 22.24, 0.26, 0.26, 3, 6, 0.64, 0.64)
A(top, via1, 15.93, 22.24, 0.26, 0.26, 3, 6, 0.64, 0.64)
A(top, via1, 25.9, 22.24, 0.26, 0.26, 1, 6, 0, 0.64)
A(top, via1, 35.35, 22.24, 0.26, 0.26, 3, 6, 0.64, 0.64)
A(top, via1, 37.28, 22.24, 0.26, 0.26, 1, 6, 0, 0.64)
A(top, via1, -10.64, 22.29, 0.26, 0.26, 4, 6, 0.64, 0.64)
A(top, via1, -4.3, 26.84, 0.26, 0.26, 1, 6, 0, 0.64)
A(top, via1, 5.65, 26.84, 0.26, 0.26, 3, 6, 0.64, 0.64)
A(top, via1, 10.24, 26.84, 0.26, 0.26, 1, 6, 0, 0.64)
A(top, via1, 20.19, 26.84, 0.26, 0.26, 3, 6, 0.64, 0.64)
A(top, via1, 23.92, 26.84, 0.26, 0.26, 1, 6, 0, 0.64)
A(top, via1, 28.8, 26.84, 0.26, 0.26, 4, 5, 0.64, 0.64)
A(top, via1, 38.8, 26.84, 0.26, 0.26, 3, 6, 0.64, 0.64)
A(top, via1, 40.8, 26.84, 0.26, 0.26, 3, 6, 0.64, 0.64)
A(top, via1, 42.71, 26.84, 0.26, 0.26, 3, 6, 0.64, 0.64)
A(top, via1, -40.3, 26.89, 0.26, 0.26, 43, 6, 0.64, 0.64)
A(top, via1, 29.44, 30.04, 0.26, 0.26, 3, 1, 0.64, 0)
A(top, via1, 15.05, 36.88, 0.26, 0.26, 7, 1, 0.52, 0)
A(top, via1, 19.57, 36.88, 0.26, 0.26, 7, 1, 0.52, 0)
A(top, via1, 14.09, 37.96, 0.26, 0.26, 1, 3, 0, 0.52)
A(top, via1, -22.91, 38.09, 0.26, 0.26, 1, 34, 0, 0.52)
A(top, via1, -1.87, 38.09, 0.26, 0.26, 1, 34, 0, 0.52)
A(top, via1, 26.07, 43.78, 0.26, 0.26, 1, 7, 0, 0.52)
A(top, via1, 35.63, 43.78, 0.26, 0.26, 1, 7, 0, 0.52)
A(top, via1, 26.07, 52.5, 0.26, 0.26, 1, 6, 0, 0.52)
A(top, via1, 35.67, 52.5, 0.26, 0.26, 1, 6, 0, 0.52)
A(top, via1, 9.125, 59.16, 0.26, 0.26, 4, 2, 0.52, 0.52)
A(top, via1, 27.05, 62.57, 0.26, 0.26, 7, 1, 0.52, 0)
A(top, via1, 31.57, 62.57, 0.26, 0.26, 7, 1, 0.52, 0)
R(top, via1, [(-0.27,4.85,-0.01,5.11), (1.56,4.85,1.82,5.11), (2.75,4.85,3.01,5.11), (4.82,4.85,5.08,5.11), (14.27,4.85,14.53,5.11), (16.1,4.85,16.36,5.11), (17.29,4.85,17.55,5.11), (19.36,4.85,19.62,5.11), (2.09,6.44,2.35,6.7), (2.84,6.44,3.1,6.7), (4.12,6.44,4.38,6.7), (16.63,6.44,16.89,6.7), (17.38,6.44,17.64,6.7), (18.66,6.44,18.92,6.7), (23.92,6.75,24.18,7.01), (1.48,7.5,1.74,7.76), (4.16,7.5,4.42,7.76), (16.02,7.5,16.28,7.76), (18.7,7.5,18.96,7.76), (23.92,8.12,24.18,8.38), (26.65,8.12,26.91,8.38), (24.7,10.29,24.96,10.55), (25.47,11.67,25.73,11.93), (28.73,11.67,28.99,11.93), (25.28,12.73,25.54,12.99), (26.05,12.73,26.31,12.99), (27.25,12.73,27.51,12.99), (29.38,12.73,29.64,12.99), (24.7,14.32,24.96,14.58), (25.9,14.32,26.16,14.58), (26.65,14.32,26.91,14.58), (27.26,15.38,27.52,15.64), (3.5,20.96,3.76,21.22), (18.04,20.96,18.3,21.22), (28.78,30.04,29.04,30.3), (-23.15,31.03,-22.89,31.29), (-23.15,31.03,-22.89,31.29), (-22.67,31.03,-22.41,31.29), (-22.67,31.03,-22.41,31.29), (4.82,31.03,5.08,31.29), (19.36,31.03,19.62,31.29), (25.28,31.03,25.54,31.29), (4.16,31.81,4.42,32.07), (18.7,31.81,18.96,32.07), (27.26,31.81,27.52,32.07), (-23.15,33.96,-22.89,34.22), (-22.67,33.96,-22.41,34.22), (-47.13,35.58,-46.87,35.84), (28.4,36.88,28.66,37.14), (33.11,36.88,33.37,37.14), (23.65,38.42,23.91,38.68), (30.85,38.42,31.11,38.68), (23.65,38.94,23.91,39.2), (30.85,38.94,31.11,39.2), (-42.59,44.27,-42.37,44.49), (-41.86,44.27,-41.64,44.49), (-42.59,44.78,-42.37,45), (-41.86,44.78,-41.64,45), (-48.21,47.2,-47.95,47.46), (-42.59,47.23,-42.37,47.45), (-41.86,47.23,-41.64,47.45), (-48.21,47.99,-47.95,48.25), (15.6,48.59,15.86,48.85), (7.8,57.86,8.06,58.12), (24.61,59.16,24.87,59.42), (24.61,59.68,24.87,59.94), (-22.91,62.23,-22.65,62.49), (15.6,62.23,15.86,62.49), (-11.16,63.28,-10.9,63.54), (-10.64,63.28,-10.38,63.54)])
A(top, metal2, -5.32, -14.59, 14.54, 0.38, 3, 2, 14.54, 0.78)
A(top, metal2, 25.98, 6.68, 0.38, 0.38, 3, 2, 0.62, 3.55)
A(top, metal2, -5.32, 30.97, 14.54, 0.38, 3, 2, 14.54, 0.78)
R(top, metal2, [(-38,-14.59,-7.06,-14.21), (-7.06,-14.59,-5.32,-14.21), (38.3,-14.59,45.77,-14.21), (45.39,-14.59,45.77,31.35), (-38,-13.81,-7.06,-13.43), (-7.06,-13.81,-5.32,-13.43), (-0.33,4.78,0.05,5.16), (14.21,4.78,14.59,5.16), (1.5,4.79,1.88,5.17), (2.69,4.79,3.07,5.17), (4.76,4.79,5.14,5.17), (16.04,4.79,16.42,5.17), (17.23,4.79,17.61,5.17), (19.3,4.79,19.68,5.17), (-0.25,4.84,1.8,5.12), (2.74,4.84,5.09,5.12), (14.29,4.84,16.34,5.12), (17.28,4.84,19.63,5.12), (2.03,6.38,2.41,6.76), (2.78,6.38,3.16,6.76), (4.06,6.38,4.44,6.76), (16.57,6.38,16.95,6.76), (17.32,6.38,17.7,6.76), (18.6,6.38,18.98,6.76), (2.08,6.43,4.39,6.71), (16.62,6.43,18.93,6.71), (25.98,6.68,27.6,7.06), (23.86,6.69,24.24,7.07), (23.91,6.73,27.55,7.01), (1.42,7.44,1.8,7.82), (4.1,7.44,4.48,7.82), (15.96,7.44,16.34,7.82), (18.64,7.44,19.02,7.82), (1.55,7.49,4.43,7.77), (16.09,7.49,18.97,7.77), (23.86,8.06,24.24,8.44), (26.59,8.06,26.97,8.44), (23.91,8.11,26.92,8.39), (24.64,10.23,25.02,10.61), (25.98,10.23,27.6,10.61), (24.71,10.28,27.55,10.56), (25.41,11.61,25.79,11.99), (28.67,11.61,29.05,11.99), (25.46,11.66,29,11.94), (25.22,12.67,25.6,13.05), (25.99,12.67,26.37,13.05), (27.19,12.67,27.57,13.05), (29.32,12.67,29.7,13.05), (25.22,12.72,26.34,13), (27.27,12.72,29.63,13), (24.64,14.26,25.02,14.64), (25.84,14.26,26.22,14.64), (26.59,14.26,26.97,14.64), (24.69,14.31,26.92,14.59), (27.2,15.32,27.58,15.7), (-3.14,20.9,3.82,21.28), (11.4,20.9,18.36,21.28), (-81.12,21.97,-40.64,25.97), (-40.64,21.97,-7.06,25.97), (-7.06,21.97,-5.32,25.97), (-5.32,21.97,9.22,25.97), (9.22,21.97,23.76,25.97), (23.76,21.97,38.12,25.97), (-40.64,26.57,-7.06,30.57), (-7.06,26.57,-5.32,30.57), (-5.32,26.57,9.22,30.57), (9.22,26.57,23.76,30.57), (23.76,26.57,44.48,30.57), (-44.15,30.97,-38,31.35), (-38,30.97,-7.06,31.35), (-7.06,30.97,-5.32,31.35), (38.3,30.97,45.77,31.35), (-48.27,31.75,-47.89,48.31), (-48.27,31.75,-38,32.13), (-38,31.75,-7.06,32.13), (-7.06,31.75,-5.32,32.13), (-47.19,32.53,-36.23,32.91), (-47.19,32.53,-46.81,35.9), (-36.61,32.53,16.79,32.91), (16.33,32.53,16.79,34.62), (-23.28,33.91,-22.28,36.06), (33.01,34.16,40.25,34.62), (-23.28,34.62,-22.28,36.06), (16.33,34.62,16.79,36.06), (33.01,34.62,33.47,36.06), (-23.28,35.56,-22.28,55.76), (16.33,35.56,16.79,37.26), (33.01,35.56,33.47,37.26), (14.03,36.76,14.41,39.31), (14.03,36.76,22.98,37.26), (28.13,36.76,28.93,37.26), (-22.97,37.54,-22.59,55.76), (-1.93,37.54,-1.55,55.76), (23.59,38.31,31.17,39.31), (26.01,43.67,26.39,55.43), (35.57,43.67,35.99,55.43), (-42.67,44.13,-41.56,47.52), (15.54,48.49,15.92,62.55), (-23.28,54.76,-1.55,55.76), (-22.97,54.76,-1.55,55.76), (-22.97,54.76,-22.59,62.55), (7.63,57.72,8.23,58.26), (8.93,59.1,11.14,60), (24.51,59.1,24.97,60), (27.02,62.45,34.98,62.95), (-11.22,63.06,-10.32,63.76)])
A(top, via2, 9.125, 59.16, 0.26, 0.26, 4, 2, 0.52, 0.52)
R(top, via2, [(28.4,36.88,28.66,37.14), (35.65,49.48,35.91,49.74), (-13.76,54.87,-13.5,55.13), (-13.24,54.87,-12.98,55.13), (-13.76,55.39,-13.5,55.65), (-13.24,55.39,-12.98,55.65), (7.8,57.86,8.06,58.12), (24.61,59.16,24.87,59.42), (24.61,59.68,24.87,59.94), (-11.16,63.28,-10.9,63.54), (-10.64,63.28,-10.38,63.54)])
R(top, via3, [(28.4,36.88,28.66,37.14), (-13.76,54.87,-13.5,55.13), (-13.24,54.87,-12.98,55.13), (-13.76,55.39,-13.5,55.65), (-13.24,55.39,-12.98,55.65), (-11.16,63.28,-10.9,63.54), (-10.64,63.28,-10.38,63.54)])
A(top, via4, -23.06, 38.49, 0.26, 0.26, 28, 14, 0.76, 0.76)
R(top, via4, [(-13.76,54.87,-13.5,55.13), (-13.24,54.87,-12.98,55.13), (-13.76,55.39,-13.5,55.65), (-13.24,55.39,-12.98,55.65)])
R(top, metal3, [(28.13,36.76,28.93,37.26), (7.63,49.36,35.99,49.86), (7.63,49.36,8.23,58.26), (-14.07,54.76,-12.67,55.76), (7.63,57.72,8.23,58.26), (8.93,59.1,11.14,60), (8.93,59.1,24.97,60), (24.51,59.1,24.97,60), (-11.22,63.06,-10.32,63.76)])
R(top, metal4, [(28.13,36.76,28.93,37.26), (28.23,36.76,28.83,63.76), (-24.27,37.46,-1.07,49.66), (-11.22,48.06,-10.32,63.76), (-14.07,54.76,-12.67,55.76), (-11.22,63.06,-10.32,63.76), (-11.22,63.06,28.83,63.76)])
R(top, sab, [(-13.69,-4.01,-9.13,0.19), (-22.45,61.58,-12.25,63.14), (-8.8,61.58,15.4,63.14)])
R(top, dualgate, [(-59.57,34.64,-48.06,57.49), (-48.06,34.64,-40.62,46.56), (-35.09,36.01,10.57,59.21), (13.59,36.41,24.41,48.2), (25.57,36.41,36.39,48.2), (24.69,50.8,37.31,64)])
P(top, dualgate, [(-36.61,34.62),(-36.61,60.9),(12.09,60.9),(12.09,50.35),(23.61,50.35),(23.61,65.25),(38.39,65.25),(38.39,35.06),(12.09,35.06),(12.09,34.62)])
R(top, resistor, [(-13.81,-4.95,-9.01,1.13), (-23.36,61.46,-11.34,63.26), (-9.71,61.46,16.31,63.26)])
R(top, fusetop, [(-23.67,38.06,-1.67,49.06)])
R(top, metal5, [(-23.67,38.06,-1.67,49.06), (-14.07,48.06,-12.67,55.76), (-14.07,54.76,-12.67,55.76)])
R(top, res_mk, [(40.48,-9.35,44.48,26.65), (-13.41,-3.91,-9.41,0.09), (-2.75,1.62,-0.75,6.62), (-2.75,1.62,-0.75,6.62), (11.79,1.62,13.79,6.62), (11.79,1.62,13.79,6.62), (-22.35,61.86,-12.35,62.86), (-8.7,61.86,15.3,62.86)])
R(top, cap_mk, [(-24.27,37.46,-1.07,49.66)])
R(top, L117_10, [(-23.67,38.06,-1.67,38.16)])
R(top, L118_5, [(-30.74,-0.78,-20.74,9.22)])
R(top, drc_bjt, [(-34.14,-4.18,-17.34,12.62)])
R(top, lvpwell, [(-31.64,-1.68,-19.84,10.12)])
top.add(gdstk.Label('E', (-25.735,4.215), layer=34, texttype=0))
top.add(gdstk.Label('B', (-20.255,9.735), layer=34, texttype=0))
top.add(gdstk.Label('B', (-20.245,-1.305), layer=34, texttype=0))
top.add(gdstk.Label('B', (-31.28,-1.33), layer=34, texttype=0))
top.add(gdstk.Label('C', (-32,10.475), layer=34, texttype=0))
top.add(gdstk.Label('C', (-19.505,-2.05), layer=34, texttype=0))
top.add(gdstk.Label('C', (-32.025,-2.065), layer=34, texttype=0))
top.add(gdstk.Label('S', (-36.845,-6.885), layer=34, texttype=0))
top.add(gdstk.Label('S', (-14.645,-6.85), layer=34, texttype=0))
top.add(gdstk.Label('S', (-14.645,-6.85), layer=34, texttype=0))
top.add(gdstk.Label('S', (-14.685,15.315), layer=34, texttype=0))
top.add(gdstk.Label('S', (-14.685,15.315), layer=34, texttype=0))
top.add(gdstk.Label('I1_default_E', (-20.765,9.195), layer=34, texttype=10))
top.add(gdstk.Label('I1_default_S', (-36.665,15.515), layer=34, texttype=10))
top.add(gdstk.Label('I1_default_S', (-14.445,-6.705), layer=34, texttype=10))
top.add(gdstk.Label('I1_default_S', (-14.445,-4.205), layer=34, texttype=10))
top.add(gdstk.Label('I1_default_S', (-14.445,15.515), layer=34, texttype=10))
top.add(gdstk.Label('I1_default_S', (-14.445,15.515), layer=34, texttype=10))
top.add(gdstk.Label('I1_default_C', (-19.285,10.675), layer=34, texttype=10))
top.add(gdstk.Label('I1_default_C', (-19.285,-1.865), layer=34, texttype=10))
top.add(gdstk.Label('I1_default_C', (-31.825,10.675), layer=34, texttype=10))
top.add(gdstk.Label('I1_default_B', (-20.025,9.935), layer=34, texttype=10))
top.add(gdstk.Label('I1_default_B', (-20.025,-1.125), layer=34, texttype=10))
top.add(gdstk.Label('I1_default_B', (-31.085,9.935), layer=34, texttype=10))
top.add(gdstk.Label('iDAC', (-53.67,59.15), layer=34, texttype=10))
top.add(gdstk.Label('Input', (48.53,-12.28), layer=34, texttype=10))
top.add(gdstk.Label('Output', (-38.65,-12.26), layer=34, texttype=10))
top.add(gdstk.Label('BandGap', (39.28,34.43), layer=36, texttype=10))
top.add(gdstk.Label('vDAC', (-35.42,-13.64), layer=36, texttype=10))
top.add(gdstk.Label('GND', (-66.04,53.63), layer=36, texttype=10))
top.add(gdstk.Label('VDD', (-75.85,53.57), layer=36, texttype=10))

lib.write_gds('TOP.gds')
